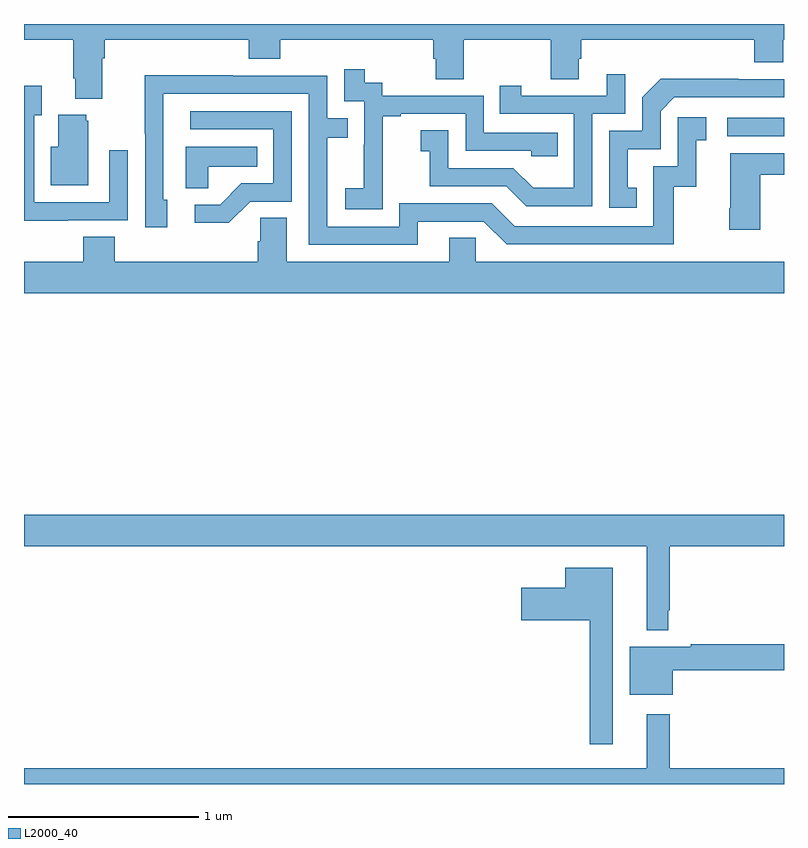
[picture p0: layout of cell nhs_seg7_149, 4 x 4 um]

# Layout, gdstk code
import gdstk
lib = gdstk.Library(unit=1e-6, precision=1e-09)
def R(c, l, rs):  # rectangles x0, y0, x1, y1
    for r in rs: c.add(gdstk.rectangle(r[:2], r[2:], *l))
def P(c, l, *ps):  # polygons
    for p in ps: c.add(gdstk.Polygon(p, *l))
L2000_40 = (2000, 40)

nhs_seg7_149 = lib.new_cell('nhs_seg7_149')
R(nhs_seg7_149, L2000_40, [(124.701,1033.41,125,1033.506)])
P(nhs_seg7_149, L2000_40, [(121.411,1033.82),(121.424,1033.82),(121.424,1033.916),(122.183,1033.916),(122.183,1033.817),(122.348,1033.817),(122.348,1033.916),(123.155,1033.916),(123.155,1033.818),(123.167,1033.818),(123.167,1033.708),(123.315,1033.708),(123.315,1033.916),(123.772,1033.916),(123.772,1033.708),(123.919,1033.708),(123.919,1033.818),(123.932,1033.818),(123.932,1033.916),(124.844,1033.916),(124.844,1033.799),(124.996,1033.799),(124.996,1033.916),(125,1033.916),(125,1034),(121,1034),(121,1033.916),(121.259,1033.916),(121.259,1033.714),(121.271,1033.714),(121.271,1033.607),(121.411,1033.607)],
  [(122.889,1033.231),(122.888,1033.231),(122.888,1033.515),(122.983,1033.515),(122.983,1033.527),(123.324,1033.527),(123.324,1033.332),(123.669,1033.332),(123.669,1033.305),(123.809,1033.305),(123.809,1033.428),(123.42,1033.428),(123.42,1033.623),(122.886,1033.623),(122.886,1033.692),(122.794,1033.692),(122.794,1033.762),(122.685,1033.762),(122.685,1033.593),(122.79,1033.593),(122.79,1033.364),(122.789,1033.364),(122.789,1033.135),(122.691,1033.135),(122.691,1033.025),(122.889,1033.025)],
  [(123.99,1033.527),(124.164,1033.527),(124.164,1033.735),(124.067,1033.735),(124.067,1033.623),(123.616,1033.623),(123.616,1033.675),(123.505,1033.675),(123.505,1033.527),(123.894,1033.527),(123.894,1033.138),(123.68,1033.138),(123.576,1033.242),(123.234,1033.242),(123.234,1033.441),(123.087,1033.441),(123.087,1033.331),(123.136,1033.331),(123.136,1033.146),(123.539,1033.146),(123.644,1033.041),(123.99,1033.041)],
  [(123.073,1032.96),(123.42,1032.96),(123.54,1032.84),(124.42,1032.84),(124.42,1033.143),(124.538,1033.143),(124.538,1033.389),(124.591,1033.389),(124.591,1033.51),(124.44,1033.51),(124.44,1033.251),(124.311,1033.251),(124.311,1032.936),(123.582,1032.936),(123.462,1033.056),(122.976,1033.056),(122.976,1032.933),(122.595,1032.933),(122.595,1033.402),(122.705,1033.402),(122.705,1033.503),(122.595,1033.503),(122.595,1033.728),(122.099,1033.728),(122.099,1033.73),(121.636,1033.73),(121.636,1033.423),(121.638,1033.423),(121.638,1032.93),(121.753,1032.93),(121.753,1033.074),(121.734,1033.074),(121.734,1033.632),(122.499,1033.632),(122.499,1032.837),(123.073,1032.837)],
  [(124.226,1033.137),(124.177,1033.137),(124.177,1033.341),(124.35,1033.341),(124.35,1033.542),(124.422,1033.614),(125,1033.614),(125,1033.71),(124.76,1033.71),(124.76,1033.712),(124.352,1033.712),(124.254,1033.614),(124.254,1033.437),(124.08,1033.437),(124.08,1033.032),(124.226,1033.032)],
  [(121.229,1032.966),(121.545,1032.966),(121.545,1033.336),(121.449,1033.336),(121.449,1033.062),(121.053,1033.062),(121.053,1033.519),(121.093,1033.519),(121.093,1033.675),(121,1033.675),(121,1032.965),(121.229,1032.965)],
  [(122.19,1033.065),(122.409,1033.065),(122.409,1033.542),(121.875,1033.542),(121.875,1033.446),(122.313,1033.446),(122.313,1033.161),(122.144,1033.161),(122.033,1033.05),(121.899,1033.05),(121.899,1032.953),(122.077,1032.953)],
  [(121.339,1033.491),(121.328,1033.491),(121.328,1033.522),(121.181,1033.522),(121.181,1033.354),(121.142,1033.354),(121.142,1033.151),(121.339,1033.151)],
  [(121.971,1033.25),(122.228,1033.25),(122.228,1033.354),(121.85,1033.354),(121.85,1033.135),(121.971,1033.135)],
  [(124.876,1033.207),(125,1033.207),(125,1033.321),(124.718,1033.321),(124.718,1033.03),(124.711,1033.03),(124.711,1032.918),(124.876,1032.918)],
  [(125,1032.748),(123.378,1032.748),(123.378,1032.875),(123.239,1032.875),(123.239,1032.748),(122.383,1032.748),(122.383,1032.98),(122.244,1032.98),(122.244,1032.857),(122.231,1032.857),(122.231,1032.748),(121.478,1032.748),(121.478,1032.881),(121.313,1032.881),(121.313,1032.748),(121,1032.748),(121,1032.584),(125,1032.584)],
  [(124.392,1030.915),(124.399,1030.915),(124.399,1031.252),(125,1031.252),(125,1031.416),(121,1031.416),(121,1031.252),(124.277,1031.252),(124.277,1030.808),(124.392,1030.808)],
  [(124.099,1031.137),(123.848,1031.137),(123.848,1031.032),(123.618,1031.032),(123.618,1030.862),(123.978,1030.862),(123.978,1030.209),(124.099,1030.209)],
  [(124.414,1030.6),(125,1030.6),(125,1030.736),(124.51,1030.736),(124.51,1030.723),(124.187,1030.723),(124.187,1030.469),(124.414,1030.469)],
  [(125,1030.084),(124.399,1030.084),(124.399,1030.366),(124.277,1030.366),(124.277,1030.084),(121,1030.084),(121,1030),(125,1030)])

lib.write_gds('nhs_seg7_149.gds')
